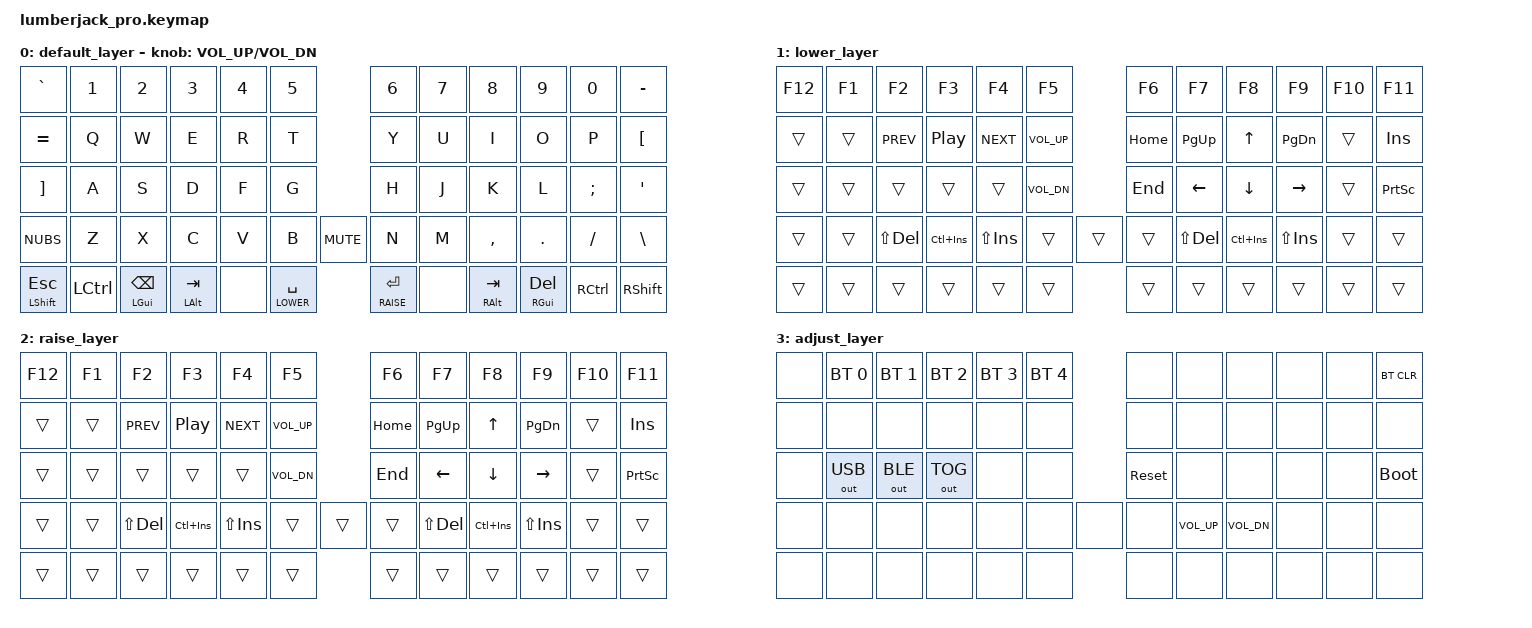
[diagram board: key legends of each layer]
/*
 * Copyright (c) 2021 The ZMK Contributors
 *
 * SPDX-License-Identifier: MIT
 */

#include <behaviors.dtsi>
#include <dt-bindings/zmk/keys.h>
#include <dt-bindings/zmk/bt.h>
#include <dt-bindings/zmk/outputs.h>
#include <dt-bindings/zmk/rgb.h>
#include <dt-bindings/zmk/ext_power.h>

#define BASE   0
#define LOWER  1
#define RAISE  2
#define ADJUST 3

/* Uncommented to enable the encoder */
&sensors {
    status = "okay";
};
&encoder { status = "okay"; };

/ {

    // Activate ADJUST layer by pressing raise and lower
    conditional_layers {
        compatible = "zmk,conditional-layers";

        tri-layer {
            if-layers = <LOWER RAISE>;
            then-layer = <ADJUST>;
        };
    };

    keymap {
        compatible = "zmk,keymap";

        default_layer {
            // ---------------------------------------------------------------------------------------------------
            // |   $   |   "   |   «   |   »   |   (   |   )   | |   6   |  7    |   8   |   9   |   0   |   -   |
            // |   %   |   B   |   É   |   P   |   O   |   È   | |   ^   |  V    |   D   |   L   |   J   |   Z   |
            // |   W   |   A   |   U   |   I   |   E   |   ,   | |   C   |  T    |   S   |   R   |   N   |   M   |
            // |   Ê   |   À   |   Y   |   X   |   :   |   K   | |   '   |  Q    |   G   |   H   |   F   |   Ç   |
            // |SHT/ESC| LCTL  |GUI/BSP|ALT/TAB| LOWER/SPACE   | | RAISE/RETURN  |ALT/TAB|GUI/DEL| CTRL  | SHIFT |

            bindings = <
                &kp GRAVE     &kp N1    &kp N2     &kp N3   &kp N4     &kp N5                 &kp N6     &kp N7    &kp N8     &kp N9    &kp N0     &kp MINUS
                &kp EQUAL     &kp Q     &kp W      &kp E    &kp R      &kp T                  &kp Y      &kp U     &kp I      &kp O     &kp P      &kp LBKT
                &kp RBKT      &kp A     &kp S      &kp D    &kp F      &kp G                  &kp H      &kp J     &kp K      &kp L     &kp SEMI   &kp SQT
                &kp NUBS      &kp Z     &kp X      &kp C    &kp V      &kp B    &kp C_MUTE    &kp N      &kp M     &kp COMMA  &kp DOT   &kp FSLH   &kp BSLH
                &mt LSHFT ESC &kp LCTRL &mt LGUI BSPC &mt LALT TAB &none &lt LOWER SPACE      &lt RAISE RET &none &mt RALT TAB &mt RGUI DEL &kp RCTRL &kp RSHFT
            >;

            sensor-bindings = <&inc_dec_kp C_VOL_UP C_VOL_DN>;
        };

        lower_layer {
            // ---------------------------------------------------------------------------------------------------
            // |  F12  |  F1   |   F2  |   F3  |   F4  |  F5   | |  F6   |  F7   |  F8   |  F9   |  F10  |   F11 |
            // |       |       | PREV  |PLY/PAU| NEXT  | VOL+  | |  HOME |  PGUP |   UP  | PGDN  |       |   INS |
            // |       |       |       |       |       | VOL-  | |   END |  LEFT |  DOWN | RIGHT |       |PRTSCRN|
            // |       |       |  CUT  |  COPY | PASTE |       | |       |  CUT  |  COPY | PASTE |       |       |
            // |       |       |       |       |               | |    ADJUST     |       |       |       |       |

            bindings = <
                &kp F12   &kp F1    &kp F2     &kp F3   &kp F4     &kp F5                 &kp F6     &kp F7    &kp F8     &kp F9    &kp F10    &kp F11
                &trans    &trans    &kp C_PREV &kp C_PP &kp C_NEXT &kp C_VOL_UP           &kp HOME   &kp PG_UP &kp UP     &kp PG_DN &trans     &kp INS
                &trans    &trans    &trans     &trans   &trans     &kp C_VOL_DN           &kp END    &kp LEFT  &kp DOWN   &kp RIGHT &trans     &kp PSCRN
                &trans    &trans    &kp LS(DELETE) &kp LC(INS) &kp LS(INS) &trans &trans  &trans     &kp LS(DELETE) &kp LC(INS) &kp LS(INS) &trans &trans
                &trans    &trans    &trans     &trans   &trans     &trans                 &trans     &trans    &trans     &trans    &trans     &trans
            >;
        };

        raise_layer {
            // IDEM Lower Layer, except for ADJUST select
            bindings = <
                &kp F12   &kp F1    &kp F2     &kp F3   &kp F4     &kp F5                 &kp F6     &kp F7    &kp F8     &kp F9    &kp F10    &kp F11
                &trans    &trans    &kp C_PREV &kp C_PP &kp C_NEXT &kp C_VOL_UP           &kp HOME   &kp PG_UP &kp UP     &kp PG_DN &trans     &kp INS
                &trans    &trans    &trans     &trans   &trans     &kp C_VOL_DN           &kp END    &kp LEFT  &kp DOWN   &kp RIGHT &trans     &kp PSCRN
                &trans    &trans    &kp LS(DELETE) &kp LC(INS) &kp LS(INS) &trans &trans  &trans     &kp LS(DELETE) &kp LC(INS) &kp LS(INS) &trans &trans
                &trans    &trans    &trans     &trans   &trans     &trans                 &trans     &trans    &trans     &trans    &trans     &trans
            >;
        };

        adjust_layer {
            // ---------------------------------------------------------------------------------------------------
            // |       | BT 1  | BT 2  | BT 3  | BT 4  | BT 5  | |       |       |       |       |       | BT CLR|
            // |       |       |       |       |       |       | |       |       |       |       |       |       |
            // |       |OUT USB|OUT BLE|OUT TOG|       |       | | RESET |       |       |       |       | BOOTLD|
            // |       |       |       |       |       |       | |       | VOL + | VOL - |       |       |       |
            // |       |       |       |       |               | |               |       |       |       |       |

            bindings = <
                &none &bt BT_SEL 0 &bt BT_SEL 1 &bt BT_SEL 2 &bt BT_SEL 3 &bt BT_SEL 4    &none      &none     &none      &none     &none      &bt BT_CLR
                &none     &none     &none      &none    &none      &none                  &none      &none     &none      &none     &none      &none
                &none     &out OUT_USB &out OUT_BLE &out OUT_TOG &none &none              &sys_reset &none     &none      &none     &none      &bootloader
                &none     &none     &none      &none    &none      &none     &none        &none      &kp C_VOL_UP &kp C_VOL_DN &none &none     &none
                &none     &none     &none      &none    &none      &none                  &none      &none     &none      &none     &none      &none
            >;
        };
    };
};
